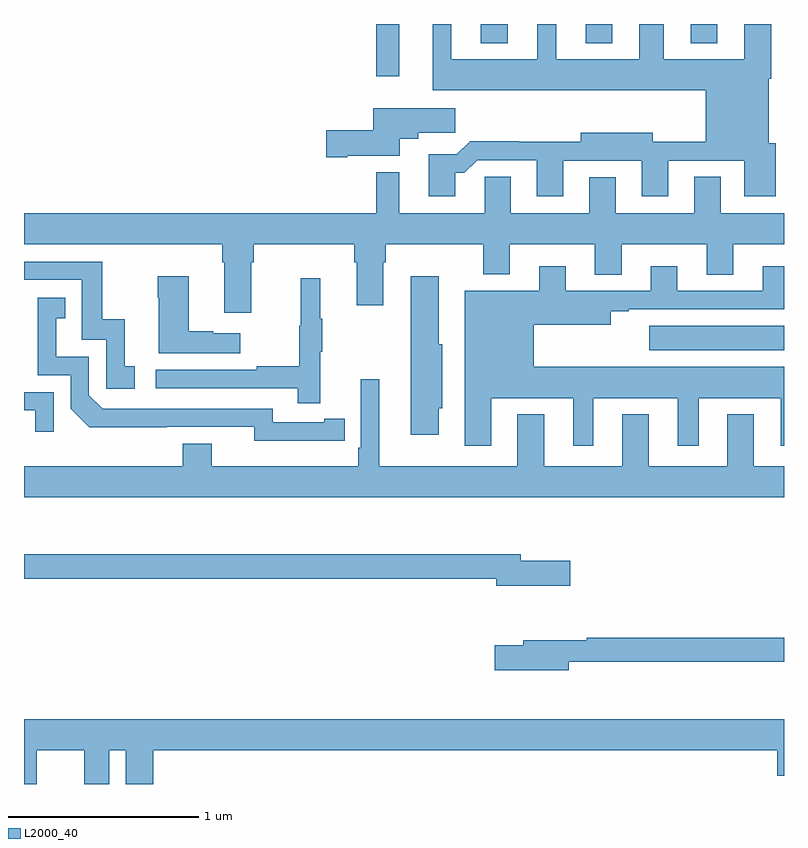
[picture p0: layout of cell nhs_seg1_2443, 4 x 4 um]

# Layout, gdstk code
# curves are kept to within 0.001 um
import gdstk
lib = gdstk.Library(unit=1e-6, precision=1e-09)
def R(c, l, rs):  # rectangles x0, y0, x1, y1
    for r in rs: c.add(gdstk.rectangle(r[:2], r[2:], *l))
def A(c, l, x, y, w, h, nx, ny, dx, dy):  # array of equal rectangles
    R(c, l, [(x+i*dx, y+j*dy, x+i*dx+w, y+j*dy+h) for i in range(nx) for j in range(ny)])
def P(c, l, *ps):  # polygons
    for p in ps: c.add(gdstk.Polygon(p, *l))
L2000_40 = (2000, 40)

nhs_seg1_2443 = lib.new_cell('nhs_seg1_2443')
A(nhs_seg1_2443, L2000_40, 245.405, 578.099, 0.14, 0.1, 3, 1, 0.552, 0)
R(nhs_seg1_2443, L2000_40, [(246.291,576.482,247,576.61), (244.854,577.923,244.975,578.199)])
P(nhs_seg1_2443, L2000_40, [(245.269,577.415),(245.318,577.415),(245.385,577.482),(245.699,577.482),(245.699,577.293),(245.839,577.293),(245.839,577.479),(246.251,577.478),(246.251,577.293),(246.391,577.293),(246.391,577.479),(246.791,577.479),(246.791,577.293),(246.956,577.293),(246.956,577.572),(246.919,577.572),(246.919,577.91),(246.932,577.91),(246.932,578.199),(246.791,578.199),(246.791,578.014),(246.367,578.014),(246.367,578.199),(246.239,578.199),(246.239,578.014),(245.8,578.014),(245.8,578.199),(245.702,578.199),(245.702,578.014),(245.248,578.014),(245.248,578.199),(245.15,578.199),(245.15,577.85),(246.587,577.85),(246.587,577.58),(246.31,577.58),(246.31,577.627),(245.93,577.627),(245.93,577.58),(245.603,577.58),(245.603,577.583),(245.348,577.583),(245.278,577.513),(245.129,577.513),(245.129,577.293),(245.269,577.293)],
  [(244.702,577.505),(244.978,577.505),(244.978,577.595),(245.074,577.595),(245.074,577.627),(245.269,577.627),(245.269,577.756),(244.838,577.756),(244.838,577.64),(244.59,577.64),(244.59,577.498),(244.702,577.498)],
  [(244.195,576.944),(244.208,576.944),(244.208,577.04),(244.739,577.04),(244.739,576.944),(244.751,576.944),(244.751,576.72),(244.891,576.72),(244.891,576.944),(244.904,576.944),(244.904,577.04),(245.417,577.04),(245.417,576.881),(245.557,576.881),(245.557,577.04),(246.005,577.04),(246.005,576.88),(246.145,576.88),(246.145,577.04),(246.593,577.04),(246.593,576.88),(246.733,576.88),(246.733,577.04),(247,577.04),(247,577.204),(246.667,577.204),(246.667,577.394),(246.527,577.394),(246.527,577.204),(246.115,577.204),(246.115,577.393),(245.975,577.393),(245.975,577.204),(245.563,577.204),(245.563,577.394),(245.424,577.394),(245.424,577.204),(244.975,577.204),(244.975,577.42),(244.854,577.42),(244.854,577.204),(243,577.204),(243,577.04),(244.043,577.04),(244.043,576.944),(244.055,576.944),(244.055,576.678),(244.195,576.678)],
  [(243.583,576.399),(243.53,576.399),(243.53,576.646),(243.412,576.646),(243.412,576.948),(243,576.948),(243,576.852),(243.303,576.852),(243.303,576.537),(243.432,576.537),(243.432,576.279),(243.583,576.279)],
  [(245.458,576.23),(245.891,576.23),(245.891,575.979),(245.995,575.979),(245.995,576.23),(246.44,576.23),(246.44,575.979),(246.55,575.979),(246.55,576.23),(246.983,576.23),(246.983,575.979),(247,575.979),(247,576.394),(245.683,576.394),(245.683,576.617),(246.088,576.617),(246.088,576.687),(246.184,576.687),(246.184,576.699),(247,576.699),(247,576.925),(246.887,576.925),(246.887,576.795),(246.439,576.795),(246.439,576.925),(246.299,576.925),(246.299,576.795),(245.851,576.795),(245.851,576.925),(245.711,576.925),(245.711,576.796),(245.321,576.796),(245.321,575.979),(245.458,575.979)],
  [(245.182,576.177),(245.2,576.177),(245.2,576.513),(245.182,576.513),(245.182,576.871),(245.036,576.871),(245.036,576.036),(245.182,576.036)],
  [(244.138,576.571),(243.995,576.571),(243.995,576.581),(243.868,576.581),(243.868,576.871),(243.703,576.871),(243.703,576.758),(243.71,576.758),(243.71,576.467),(244.138,576.467)],
  [(244.559,576.475),(244.57,576.475),(244.57,576.649),(244.559,576.649),(244.559,576.862),(244.456,576.862),(244.456,576.612),(244.449,576.612),(244.449,576.398),(244.225,576.398),(244.225,576.378),(243.693,576.378),(243.693,576.282),(244.441,576.282),(244.441,576.204),(244.559,576.204)],
  [(244.58,576.006),(244.688,576.006),(244.688,576.122),(244.58,576.122),(244.58,576.102),(244.308,576.102),(244.308,576.174),(243.414,576.174),(243.342,576.246),(243.342,576.447),(243.169,576.447),(243.169,576.651),(243.218,576.651),(243.218,576.757),(243.072,576.757),(243.072,576.351),(243.246,576.351),(243.246,576.174),(243.344,576.077),(244.212,576.078),(244.212,576.005)],
  [(247,575.872),(246.841,575.872),(246.841,576.145),(246.701,576.145),(246.701,575.872),(246.289,575.872),(246.289,576.145),(246.149,576.145),(246.149,575.872),(245.737,575.872),(245.737,576.145),(245.597,576.145),(245.597,575.872),(244.87,575.872),(244.87,576.328),(244.773,576.328),(244.773,575.968),(244.76,575.968),(244.76,575.872),(243.988,575.872),(243.988,575.989),(243.836,575.989),(243.836,575.872),(243,575.872),(243,575.708),(247,575.708)],
  [(243.156,576.261),(243,576.261),(243,576.165),(243.059,576.165),(243.059,576.054),(243.156,576.054)],
  [(245.875,575.373),(245.614,575.373),(245.614,575.407),(243,575.407),(243,575.278),(245.486,575.278),(245.486,575.243),(245.875,575.243)],
  [(245.866,574.842),(247,574.842),(247,574.97),(245.962,574.97),(245.962,574.955),(245.627,574.955),(245.627,574.929),(245.478,574.929),(245.478,574.799),(245.866,574.799)],
  [(243.067,574.376),(243.317,574.376),(243.317,574.199),(243.448,574.199),(243.448,574.376),(243.536,574.376),(243.536,574.199),(243.68,574.199),(243.68,574.376),(246.965,574.376),(246.965,574.243),(247,574.243),(247,574.54),(243,574.54),(243,574.199),(243.067,574.199)])

lib.write_gds('nhs_seg1_2443.gds')
